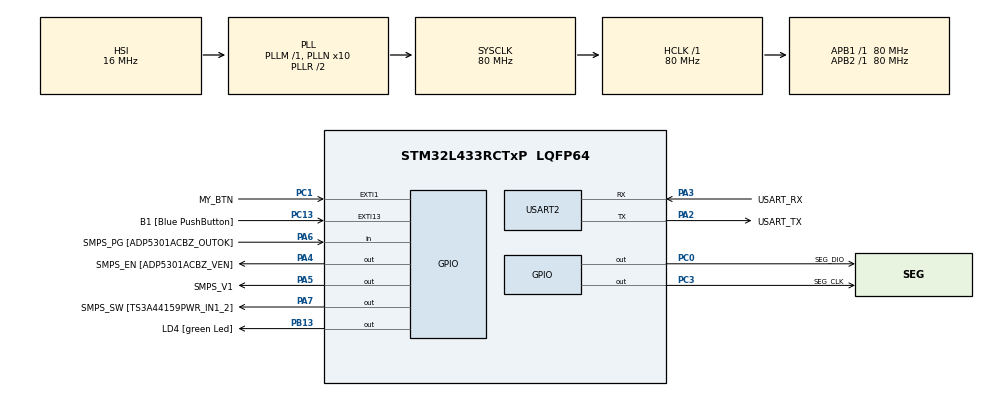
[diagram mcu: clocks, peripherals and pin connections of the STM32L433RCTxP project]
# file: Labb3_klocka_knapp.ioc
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Mcu.Family=STM32L4
Mcu.Name=STM32L433RCTxP
Mcu.Package=LQFP64
NVIC.EXTI1_IRQn=true\:0\:0\:false\:false\:true\:true\:true\:true
NVIC.PriorityGroup=NVIC_PRIORITYGROUP_4
NVIC.TIM2_IRQn=true\:0\:0\:false\:false\:true\:true\:true\:true
PA13\ (JTMS-SWDIO).GPIO_Label=TMS
PA13\ (JTMS-SWDIO).Mode=Serial_Wire
PA13\ (JTMS-SWDIO).Signal=SYS_JTMS-SWDIO
PA14\ (JTCK-SWCLK).GPIO_Label=TCK
PA14\ (JTCK-SWCLK).Mode=Serial_Wire
PA14\ (JTCK-SWCLK).Signal=SYS_JTCK-SWCLK
PA2.GPIO_Label=USART_TX
PA2.GPIO_Mode=GPIO_MODE_AF_PP
PA2.GPIO_PuPd=GPIO_NOPULL
PA2.GPIO_Speed=GPIO_SPEED_FREQ_VERY_HIGH
PA2.Mode=Asynchronous
PA2.Signal=USART2_TX
PA3.GPIO_Label=USART_RX
PA3.GPIO_Mode=GPIO_MODE_AF_PP
PA3.GPIO_PuPd=GPIO_NOPULL
PA3.GPIO_Speed=GPIO_SPEED_FREQ_VERY_HIGH
PA3.Mode=Asynchronous
PA3.Signal=USART2_RX
PA4.GPIO_Label=SMPS_EN [ADP5301ACBZ_VEN]
PA4.Signal=GPIO_Output
PA5.GPIO_Label=SMPS_V1
PA5.GPIO_ModeDefaultOutputPP=GPIO_MODE_OUTPUT_PP
PA5.GPIO_PuPd=GPIO_NOPULL
PA5.GPIO_Speed=GPIO_SPEED_FREQ_LOW
PA5.Signal=GPIO_Output
PA6.GPIO_Label=SMPS_PG [ADP5301ACBZ_OUTOK]
PA6.GPIO_PuPd=GPIO_PULLUP
PA6.Signal=GPIO_Input
PA7.GPIO_Label=SMPS_SW [TS3A44159PWR_IN1_2]
PA7.Signal=GPIO_Output
PB13.GPIO_Label=LD4 [green Led]
PB13.Signal=GPIO_Output
PB3\ (JTDO-TRACESWO).GPIO_Label=SWO
PB3\ (JTDO-TRACESWO).Signal=SYS_JTDO-SWO
PC0.GPIO_Label=SEG_DIO
PC0.GPIO_ModeDefaultOutputPP=GPIO_MODE_OUTPUT_OD
PC0.GPIO_PuPd=GPIO_NOPULL
PC0.Signal=GPIO_Output
PC1.GPIO_Label=MY_BTN
PC1.GPIO_ModeDefaultEXTI=GPIO_MODE_IT_FALLING
PC1.Signal=GPXTI1
PC13.GPIO_Label=B1 [Blue PushButton]
PC13.GPIO_ModeDefaultEXTI=GPIO_MODE_IT_FALLING
PC13.GPIO_PuPd=GPIO_NOPULL
PC13.Signal=GPXTI13
PC14-OSC32_IN\ (PC14).Mode=LSE-External-Oscillator
PC14-OSC32_IN\ (PC14).Signal=RCC_OSC32_IN
PC15-OSC32_OUT\ (PC15).Mode=LSE-External-Oscillator
PC15-OSC32_OUT\ (PC15).Signal=RCC_OSC32_OUT
PC3.GPIO_Label=SEG_CLK
PC3.Signal=GPIO_Output
PH0-OSC_IN\ (PH0).GPIO_Label=MCO
PH0-OSC_IN\ (PH0).Mode=HSE-External-Clock-Source
PH0-OSC_IN\ (PH0).Signal=RCC_OSC_IN
PH1-OSC_OUT\ (PH1).Signal=RCC_OSC_OUT
ProjectManager.HeapSize=0x200
ProjectManager.StackSize=0x400
ProjectManager.TargetToolchain=STM32CubeIDE
RCC.ADCFreq_Value=64000000
RCC.AHBFreq_Value=80000000
RCC.APB1Freq_Value=80000000
RCC.APB1TimFreq_Value=80000000
RCC.APB2Freq_Value=80000000
RCC.APB2TimFreq_Value=80000000
RCC.CortexFreq_Value=80000000
RCC.HCLKFreq_Value=80000000
RCC.HSE_VALUE=8000000
RCC.HSI48_VALUE=48000000
RCC.HSI_VALUE=16000000
RCC.MSI_VALUE=4000000
RCC.PLLN=10
RCC.PLLSourceVirtual=RCC_PLLSOURCE_HSI
RCC.PREFETCH_ENABLE=1
RCC.SYSCLKFreq_VALUE=80000000
RCC.SYSCLKSource=RCC_SYSCLKSOURCE_PLLCLK
RCC.USBFreq_Value=64000000
RCC.VCOOutputFreq_Value=160000000
TIM2.AutoReloadPreload=TIM_AUTORELOAD_PRELOAD_DISABLE
TIM2.Prescaler=7999
USART2.VirtualMode-Asynchronous=VM_ASYNC
VP_TIM2_VS_ClockSourceINT.Mode=Internal
board=NUCLEO-L433RC-P

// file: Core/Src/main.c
/* USER CODE BEGIN Header */
/**
 ******************************************************************************
 * @file           : main.c
 * @brief          : Main program body
 ******************************************************************************
 * @attention
 *
 * Copyright (c) 2025 STMicroelectronics.
 * All rights reserved.
 *
 * This software is licensed under terms that can be found in the LICENSE file
 * in the root directory of this software component.
 * If no LICENSE file comes with this software, it is provided AS-IS.
 *
 ******************************************************************************
 */
/* USER CODE END Header */
#include "main.h"

/* USER CODE BEGIN Includes */
#include <stdio.h>
#include "quad_sseg.h"
/* USER CODE END Includes */

TIM_HandleTypeDef htim2;

UART_HandleTypeDef huart2;

/* USER CODE BEGIN PV */
uint16_t button_exti_count = 0;
uint16_t button_debounced_count = 0;
uint16_t unhandled_exti = 0;
uint16_t last_exti_time = 0;
/* USER CODE END PV */

void SystemClock_Config(void);
static void MX_GPIO_Init(void);
static void MX_USART2_UART_Init(void);
static void MX_TIM2_Init(void);
/* USER CODE BEGIN PFP */
volatile uint8_t half_second_flag = 0;
volatile uint8_t colon_visible = 0;

uint8_t seconds = 45;
uint8_t minutes = 59;
uint8_t hours = 23;
void uart_print_menu(){
	char str[99] = {'\0'};
	uint16_t str_len = sprintf(str, "This is a very nice menu yes?\r\n " "Choose your destiny!\r\n"
			"1: Clock mode \r\n" " 2: Button mode");
	HAL_UART_Transmit(&huart2,(uint8_t*)str, str_len,HAL_MAX_DELAY);
}
int uart_get_menu_choice()
{
	char str[1] = {'\0'};
	uint16_t str_len = 1;
	HAL_UART_Receive(&huart2,
			(uint8_t *) str,
			str_len,
			HAL_MAX_DELAY);
	int ret = -1;
	sscanf(str, "%d", &ret);
	return ret;
}
void uart_print_bad_choice(){
	char str[90] = {'\0'};
	uint16_t str_len = sprintf(str, "Bad choice! Choose again:\r\n");
	HAL_UART_Transmit(&huart2,(uint8_t*)str, str_len,HAL_MAX_DELAY);
}
/* USER CODE END PFP */

/* USER CODE BEGIN 0 */
void HAL_TIM_PeriodElapsedCallback(TIM_HandleTypeDef *htim)
{
	if (htim->Instance == TIM2)
	{
		half_second_flag = 1;
		HAL_GPIO_TogglePin(LD4_GPIO_Port, LD4_Pin);
	}
}
void show_time(uint8_t high, uint8_t low)
{
	uint8_t h_tens = high / 10;
	uint8_t h_units = high % 10;
	uint8_t l_tens = low / 10;
	uint8_t l_units = low % 10;
	qs_put_digits(h_tens, h_units, l_tens, l_units,colon_visible);
}

void clock_mode()
{
	/*** init segment ***/
	hours = 0;
	minutes = 0;
	seconds = 0;

	/*** main loop ***/
	while (1)
	{
		if (half_second_flag)
		{
			half_second_flag = 0;
			colon_visible = !colon_visible;
			if (colon_visible)
			{
				seconds++;
				if (seconds >= 60)
				{
					seconds = 0;
					minutes++;
					if (minutes >= 60)
					{
						minutes = 0;
						hours++;
						if (hours >= 24)
						{
							hours = 0;
						}
					}
				}
			}
			int show_hours = (HAL_GPIO_ReadPin(B1_GPIO_Port, B1_Pin) == GPIO_PIN_RESET);

			if (show_hours)
				 // HH:MM
				show_time(minutes, seconds);
			else
				show_time(hours, minutes);// MM:SS
		}
	}
}
void button_mode()
{
	/*** init segment ***/
	/*** main loop ***/
	int b1_pressed;
	uint8_t pressed;
	while (1)
	{
		if (unhandled_exti && (HAL_GetTick() - last_exti_time)
				>= 50)
		{
			pressed = (GPIO_PIN_RESET == HAL_GPIO_ReadPin(MY_BTN_GPIO_Port, MY_BTN_Pin));
			if (pressed)
			{
				button_debounced_count++;
			}
			unhandled_exti = 0;
		}
		b1_pressed = (GPIO_PIN_RESET == HAL_GPIO_ReadPin(B1_GPIO_Port, B1_Pin));

		qs_put_big_num(b1_pressed ? button_debounced_count :button_exti_count);
	}
}
void HAL_GPIO_EXTI_Callback(uint16_t GPIO_Pin){
	if(GPIO_Pin == MY_BTN_Pin){
		button_exti_count ++;
		unhandled_exti = 1;
		last_exti_time = HAL_GetTick();
	}
}
/* USER CODE END 0 */

int main(void)
{

  /* MCU Configuration--------------------------------------------------------*/

  /* Reset of all peripherals, Initializes the Flash interface and the Systick. */
  HAL_Init();

  /* Configure the system clock */
  SystemClock_Config();

  /* Initialize all configured peripherals */
  MX_GPIO_Init();
  MX_USART2_UART_Init();
  MX_TIM2_Init();
  /* USER CODE BEGIN 2 */
  HAL_TIM_Base_Start_IT(&htim2);
  /* USER CODE END 2 */

  /* Infinite loop */
	while (1)
	{

    /* USER CODE BEGIN 3 */
		button_mode();
	}
  /* USER CODE END 3 */
}

void SystemClock_Config(void)
{
  RCC_OscInitTypeDef RCC_OscInitStruct = {0};
  RCC_ClkInitTypeDef RCC_ClkInitStruct = {0};

  /** Configure the main internal regulator output voltage
  */
  if (HAL_PWREx_ControlVoltageScaling(PWR_REGULATOR_VOLTAGE_SCALE1) != HAL_OK)
  {
    Error_Handler();
  }

  /** Initializes the RCC Oscillators according to the specified parameters
  * in the RCC_OscInitTypeDef structure.
  */
  RCC_OscInitStruct.OscillatorType = RCC_OSCILLATORTYPE_HSI;
  RCC_OscInitStruct.HSIState = RCC_HSI_ON;
  RCC_OscInitStruct.HSICalibrationValue = RCC_HSICALIBRATION_DEFAULT;
  RCC_OscInitStruct.PLL.PLLState = RCC_PLL_ON;
  RCC_OscInitStruct.PLL.PLLSource = RCC_PLLSOURCE_HSI;
  RCC_OscInitStruct.PLL.PLLM = 1;
  RCC_OscInitStruct.PLL.PLLN = 10;
  RCC_OscInitStruct.PLL.PLLP = RCC_PLLP_DIV7;
  RCC_OscInitStruct.PLL.PLLQ = RCC_PLLQ_DIV2;
  RCC_OscInitStruct.PLL.PLLR = RCC_PLLR_DIV2;
  if (HAL_RCC_OscConfig(&RCC_OscInitStruct) != HAL_OK)
  {
    Error_Handler();
  }

  /** Initializes the CPU, AHB and APB buses clocks
  */
  RCC_ClkInitStruct.ClockType = RCC_CLOCKTYPE_HCLK|RCC_CLOCKTYPE_SYSCLK
                              |RCC_CLOCKTYPE_PCLK1|RCC_CLOCKTYPE_PCLK2;
  RCC_ClkInitStruct.SYSCLKSource = RCC_SYSCLKSOURCE_PLLCLK;
  RCC_ClkInitStruct.AHBCLKDivider = RCC_SYSCLK_DIV1;
  RCC_ClkInitStruct.APB1CLKDivider = RCC_HCLK_DIV1;
  RCC_ClkInitStruct.APB2CLKDivider = RCC_HCLK_DIV1;

  if (HAL_RCC_ClockConfig(&RCC_ClkInitStruct, FLASH_LATENCY_4) != HAL_OK)
  {
    Error_Handler();
  }
}

static void MX_TIM2_Init(void)
{

  TIM_ClockConfigTypeDef sClockSourceConfig = {0};
  TIM_MasterConfigTypeDef sMasterConfig = {0};

  htim2.Instance = TIM2;
  htim2.Init.Prescaler = 7999;
  htim2.Init.CounterMode = TIM_COUNTERMODE_UP;
  htim2.Init.Period = 4999;
  htim2.Init.ClockDivision = TIM_CLOCKDIVISION_DIV1;
  htim2.Init.AutoReloadPreload = TIM_AUTORELOAD_PRELOAD_DISABLE;
  if (HAL_TIM_Base_Init(&htim2) != HAL_OK)
  {
    Error_Handler();
  }
  sClockSourceConfig.ClockSource = TIM_CLOCKSOURCE_INTERNAL;
  if (HAL_TIM_ConfigClockSource(&htim2, &sClockSourceConfig) != HAL_OK)
  {
    Error_Handler();
  }
  sMasterConfig.MasterOutputTrigger = TIM_TRGO_RESET;
  sMasterConfig.MasterSlaveMode = TIM_MASTERSLAVEMODE_DISABLE;
  if (HAL_TIMEx_MasterConfigSynchronization(&htim2, &sMasterConfig) != HAL_OK)
  {
    Error_Handler();
  }

}

static void MX_USART2_UART_Init(void)
{

  huart2.Instance = USART2;
  huart2.Init.BaudRate = 115200;
  huart2.Init.WordLength = UART_WORDLENGTH_8B;
  huart2.Init.StopBits = UART_STOPBITS_1;
  huart2.Init.Parity = UART_PARITY_NONE;
  huart2.Init.Mode = UART_MODE_TX_RX;
  huart2.Init.HwFlowCtl = UART_HWCONTROL_NONE;
  huart2.Init.OverSampling = UART_OVERSAMPLING_16;
  huart2.Init.OneBitSampling = UART_ONE_BIT_SAMPLE_DISABLE;
  huart2.AdvancedInit.AdvFeatureInit = UART_ADVFEATURE_NO_INIT;
  if (HAL_UART_Init(&huart2) != HAL_OK)
  {
    Error_Handler();
  }

}

static void MX_GPIO_Init(void)
{
  GPIO_InitTypeDef GPIO_InitStruct = {0};

  /* GPIO Ports Clock Enable */
  __HAL_RCC_GPIOC_CLK_ENABLE();
  __HAL_RCC_GPIOH_CLK_ENABLE();
  __HAL_RCC_GPIOA_CLK_ENABLE();
  __HAL_RCC_GPIOB_CLK_ENABLE();

  /*Configure GPIO pin Output Level */
  HAL_GPIO_WritePin(GPIOC, SEG_DIO_Pin|SEG_CLK_Pin, GPIO_PIN_RESET);

  /*Configure GPIO pin Output Level */
  HAL_GPIO_WritePin(GPIOA, SMPS_EN_Pin|SMPS_V1_Pin|SMPS_SW_Pin, GPIO_PIN_RESET);

  /*Configure GPIO pin Output Level */
  HAL_GPIO_WritePin(LD4_GPIO_Port, LD4_Pin, GPIO_PIN_RESET);

  /*Configure GPIO pins : B1_Pin MY_BTN_Pin */
  GPIO_InitStruct.Pin = B1_Pin|MY_BTN_Pin;
  GPIO_InitStruct.Mode = GPIO_MODE_IT_FALLING;
  GPIO_InitStruct.Pull = GPIO_NOPULL;
  HAL_GPIO_Init(GPIOC, &GPIO_InitStruct);

  /*Configure GPIO pin : SEG_DIO_Pin */
  GPIO_InitStruct.Pin = SEG_DIO_Pin;
  GPIO_InitStruct.Mode = GPIO_MODE_OUTPUT_OD;
  GPIO_InitStruct.Pull = GPIO_NOPULL;
  GPIO_InitStruct.Speed = GPIO_SPEED_FREQ_LOW;
  HAL_GPIO_Init(SEG_DIO_GPIO_Port, &GPIO_InitStruct);

  /*Configure GPIO pin : SEG_CLK_Pin */
  GPIO_InitStruct.Pin = SEG_CLK_Pin;
  GPIO_InitStruct.Mode = GPIO_MODE_OUTPUT_PP;
  GPIO_InitStruct.Pull = GPIO_NOPULL;
  GPIO_InitStruct.Speed = GPIO_SPEED_FREQ_LOW;
  HAL_GPIO_Init(SEG_CLK_GPIO_Port, &GPIO_InitStruct);

  /*Configure GPIO pins : SMPS_EN_Pin SMPS_V1_Pin SMPS_SW_Pin */
  GPIO_InitStruct.Pin = SMPS_EN_Pin|SMPS_V1_Pin|SMPS_SW_Pin;
  GPIO_InitStruct.Mode = GPIO_MODE_OUTPUT_PP;
  GPIO_InitStruct.Pull = GPIO_NOPULL;
  GPIO_InitStruct.Speed = GPIO_SPEED_FREQ_LOW;
  HAL_GPIO_Init(GPIOA, &GPIO_InitStruct);

  /*Configure GPIO pin : SMPS_PG_Pin */
  GPIO_InitStruct.Pin = SMPS_PG_Pin;
  GPIO_InitStruct.Mode = GPIO_MODE_INPUT;
  GPIO_InitStruct.Pull = GPIO_PULLUP;
  HAL_GPIO_Init(SMPS_PG_GPIO_Port, &GPIO_InitStruct);

  /*Configure GPIO pin : LD4_Pin */
  GPIO_InitStruct.Pin = LD4_Pin;
  GPIO_InitStruct.Mode = GPIO_MODE_OUTPUT_PP;
  GPIO_InitStruct.Pull = GPIO_NOPULL;
  GPIO_InitStruct.Speed = GPIO_SPEED_FREQ_LOW;
  HAL_GPIO_Init(LD4_GPIO_Port, &GPIO_InitStruct);

  /* EXTI interrupt init*/
  HAL_NVIC_SetPriority(EXTI1_IRQn, 0, 0);
  HAL_NVIC_EnableIRQ(EXTI1_IRQn);

}

void Error_Handler(void)
{
	__disable_irq();
	while (1)
	{
	}
}
